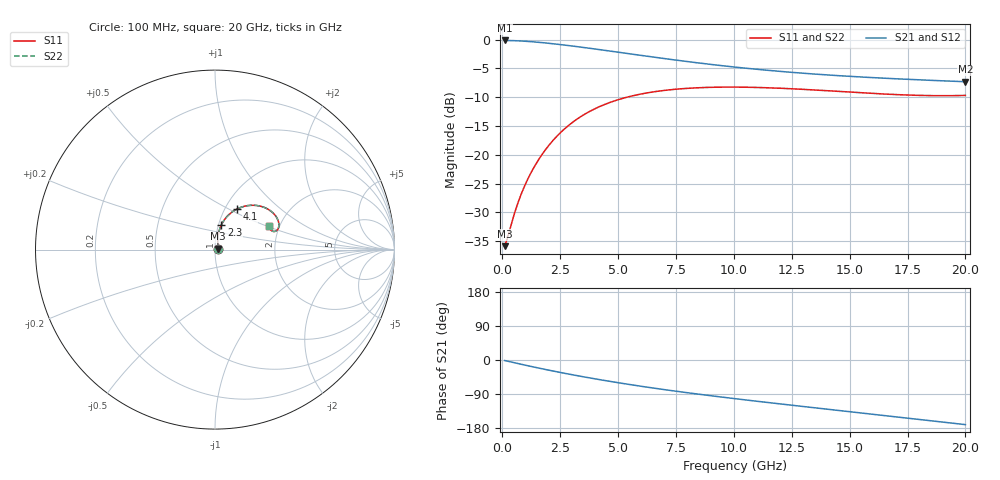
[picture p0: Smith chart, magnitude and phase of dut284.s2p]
! Created with skrf 1.9.0 (http://scikit-rf.org).
# GHz S RI R 50.0
!freq ReS11 ImS11 ReS21 ImS21 ReS12 ImS12 ReS22 ImS22
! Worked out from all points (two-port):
!   200 points, 100 MHz to 20 GHz, reference 50 ohm
!   highest |S21| = -0.14 dB at 100 MHz (marker M1); lowest = -7.3 dB at 20 GHz (marker M2)
!   |S21| within 3 dB of the highest: start of sweep to 6.73 GHz
!   lowest |S11| = -35.9 dB at 100 MHz (marker M3), VSWR 1.03, Z = 51.6 + j0.499 ohm
!   |S11| at or under -10 dB: start of sweep to 5.372 GHz
!   |S22| runs from -35.9 to -8.2 dB; largest |S21 - S12| = 2.2e-15
!   S11 on the Smith chart (normalised r, x): 100 MHz: 1.03, +0.01; 2.3 GHz: 1.03, +0.29; 4.1 GHz: 1.14, +0.55; 20 GHz: 1.76, +0.52
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0.1  0.0154 0.00484  0.9842 -0.0238  0.9842 -0.0238  0.0154 0.00484
0.2  0.0154 0.01  0.9827 -0.0479  0.9827 -0.0479  0.0154 0.01
0.5  0.0152 0.0257  0.9732 -0.1188  0.9732 -0.1188  0.0152 0.0257
0.7  0.0151 0.0365  0.9626 -0.1648  0.9626 -0.1648  0.0151 0.0365
0.9  0.0153 0.0477  0.949 -0.2093  0.949 -0.2093  0.0153 0.0477
1.1  0.0158 0.0595  0.9324 -0.2521  0.9324 -0.2521  0.0158 0.0595
1.4  0.0176 0.078  0.903 -0.3126  0.903 -0.3126  0.0176 0.078
1.7  0.0212 0.0974  0.8689 -0.3682  0.8689 -0.3682  0.0212 0.0974
2.3  0.035 0.1367  0.7905 -0.4643  0.7905 -0.4643  0.035 0.1367
2.9  0.0578 0.1732  0.7035 -0.5405  0.7035 -0.5405  0.0578 0.1732
3.5  0.0878 0.2036  0.6128 -0.5981  0.6128 -0.5981  0.0878 0.2036
4.1  0.1223 0.226  0.5219 -0.639  0.5219 -0.639  0.1223 0.226
5.3  0.1937 0.2464  0.3489 -0.6795  0.3489 -0.6795  0.1937 0.2464
6.8  0.2692 0.237  0.1623 -0.6746  0.1623 -0.6746  0.2692 0.237
8.4  0.3222 0.2053  0.00414 -0.6305  0.00414 -0.6305  0.3222 0.2053
10.1  0.3499 0.1665  -0.1242 -0.5629  -0.1242 -0.5629  0.3499 0.1665
11.7  0.356 0.1352  -0.2167 -0.4911  -0.2167 -0.4911  0.356 0.1352
13.4  0.3491 0.1123  -0.2927 -0.4105  -0.2927 -0.4105  0.3491 0.1123
15  0.3357 0.1019  -0.3475 -0.3318  -0.3475 -0.3318  0.3357 0.1019
16.7  0.3197 0.1028  -0.39 -0.2452  -0.39 -0.2452  0.3197 0.1028
18.4  0.3063 0.1146  -0.4163 -0.1559  -0.4163 -0.1559  0.3063 0.1146
20  0.2998 0.1332  -0.4255 -0.0708  -0.4255 -0.0708  0.2998 0.1332
